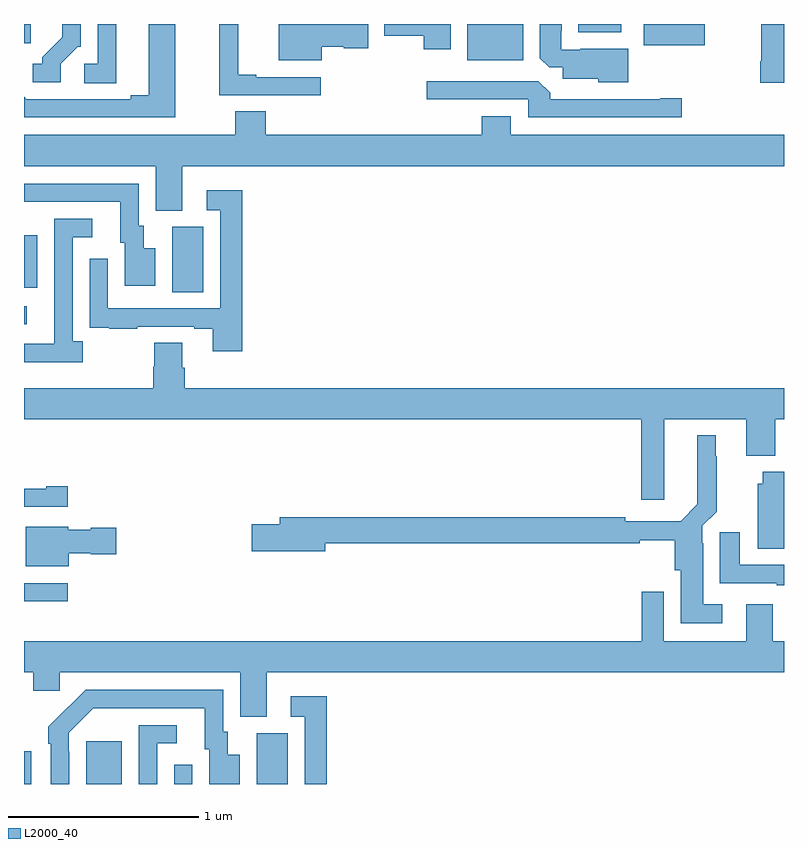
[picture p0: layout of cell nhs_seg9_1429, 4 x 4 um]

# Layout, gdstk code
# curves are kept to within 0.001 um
import gdstk
lib = gdstk.Library(unit=1e-6, precision=1e-09)
def R(c, l, rs):  # rectangles x0, y0, x1, y1
    for r in rs: c.add(gdstk.rectangle(r[:2], r[2:], *l))
def P(c, l, *ps):  # polygons
    for p in ps: c.add(gdstk.Polygon(p, *l))
L2000_40 = (2000, 40)

nhs_seg9_1429 = lib.new_cell('nhs_seg9_1429')
R(nhs_seg9_1429, L2000_40, [(191,1194.5,191.037,1194.673), (191.327,1194.5,191.515,1194.724), (191.79,1194.5,191.886,1194.601), (192.224,1194.5,192.388,1194.768), (191,1195.461,191.23,1195.557), (191,1196.919,191.014,1197.015), (191.78,1197.088,191.944,1197.432), (191,1197.113,191.071,1197.388), (193.334,1198.31,193.627,1198.5), (194.262,1198.388,194.582,1198.5), (191,1198.4,191.035,1198.5), (193.916,1198.457,194.143,1198.5)])
P(nhs_seg9_1429, L2000_40, [(191.485,1198.5),(191.388,1198.5),(191.388,1198.29),(191.316,1198.29),(191.316,1198.189),(191.485,1198.189)],
  [(192.562,1198.221),(192.223,1198.221),(192.223,1198.234),(192.128,1198.234),(192.128,1198.5),(192.028,1198.5),(192.028,1198.125),(192.562,1198.125)],
  [(191.797,1198.5),(191.657,1198.5),(191.657,1198.124),(191.561,1198.124),(191.561,1198.104),(191.013,1198.104),(191,1198.117),(191,1198.008),(191.797,1198.008)],
  [(191.193,1198.29),(191.283,1198.38),(191.298,1198.38),(191.298,1198.5),(191.201,1198.5),(191.201,1198.43),(191.096,1198.325),(191.096,1198.29),(191.046,1198.29),(191.046,1198.194),(191.193,1198.194)],
  [(195,1198.5),(194.881,1198.5),(194.881,1198.303),(194.876,1198.303),(194.876,1198.191),(195,1198.191)],
  [(193.246,1198.5),(192.896,1198.5),(192.896,1198.439),(193.105,1198.439),(193.105,1198.368),(193.246,1198.368)],
  [(192.568,1198.379),(192.684,1198.379),(192.684,1198.372),(192.811,1198.372),(192.811,1198.5),(192.341,1198.5),(192.341,1198.31),(192.568,1198.31)],
  [(194.179,1198.369),(193.927,1198.369),(193.927,1198.365),(193.827,1198.365),(193.827,1198.465),(193.831,1198.465),(193.831,1198.5),(193.715,1198.5),(193.715,1198.321),(193.764,1198.272),(193.835,1198.272),(193.835,1198.211),(194.022,1198.211),(194.022,1198.193),(194.179,1198.193)],
  [(194.461,1198.109),(194.348,1198.109),(194.348,1198.104),(193.769,1198.104),(193.769,1198.138),(193.707,1198.2),(193.119,1198.2),(193.119,1198.104),(193.653,1198.104),(193.653,1198.008),(194.461,1198.008)],
  [(191.833,1197.752),(195,1197.752),(195,1197.916),(193.561,1197.916),(193.561,1198.015),(193.409,1198.015),(193.409,1197.916),(192.272,1197.916),(192.272,1198.04),(192.112,1198.04),(192.112,1197.916),(191,1197.916),(191,1197.752),(191.693,1197.752),(191.693,1197.517),(191.833,1197.517)],
  [(191.692,1197.319),(191.629,1197.319),(191.629,1197.438),(191.604,1197.438),(191.604,1197.66),(191,1197.66),(191,1197.564),(191.507,1197.564),(191.507,1197.348),(191.531,1197.348),(191.531,1197.123),(191.692,1197.123)],
  [(192.149,1197.625),(191.961,1197.625),(191.961,1197.519),(192.033,1197.519),(192.033,1197.003),(191.442,1197.003),(191.442,1197.265),(191.346,1197.265),(191.346,1197.01),(191.347,1197.01),(191.347,1196.901),(191.449,1196.901),(191.449,1196.895),(191.597,1196.895),(191.597,1196.907),(191.897,1196.907),(191.897,1196.895),(191.993,1196.895),(191.993,1196.778),(192.149,1196.778)],
  [(191.308,1196.83),(191.256,1196.83),(191.256,1197.378),(191.359,1197.378),(191.359,1197.474),(191.16,1197.474),(191.16,1197.017),(191.159,1197.017),(191.159,1196.817),(191,1196.817),(191,1196.72),(191.308,1196.72)],
  [(194.371,1196.42),(194.801,1196.42),(194.801,1196.228),(194.954,1196.228),(194.954,1196.42),(195,1196.42),(195,1196.584),(191.846,1196.584),(191.846,1196.69),(191.833,1196.69),(191.833,1196.822),(191.686,1196.822),(191.686,1196.697),(191.681,1196.697),(191.681,1196.584),(191,1196.584),(191,1196.42),(194.249,1196.42),(194.249,1195.995),(194.371,1195.995)],
  [(194.674,1195.447),(194.575,1195.447),(194.575,1195.766),(194.571,1195.766),(194.571,1195.86),(194.645,1195.934),(194.645,1196.225),(194.641,1196.225),(194.641,1196.335),(194.543,1196.335),(194.544,1195.972),(194.456,1195.884),(194.165,1195.884),(194.165,1195.904),(192.347,1195.904),(192.347,1195.868),(192.198,1195.868),(192.198,1195.726),(192.586,1195.726),(192.586,1195.768),(194.242,1195.768),(194.242,1195.783),(194.426,1195.783),(194.426,1195.626),(194.456,1195.626),(194.456,1195.346),(194.674,1195.346)],
  [(195,1196.143),(194.888,1196.143),(194.888,1196.079),(194.861,1196.079),(194.861,1195.738),(195,1195.738)],
  [(191.23,1196.068),(191.117,1196.068),(191.117,1196.055),(191,1196.055),(191,1195.959),(191.23,1195.959)],
  [(191.236,1195.715),(191.352,1195.715),(191.352,1195.708),(191.485,1195.708),(191.485,1195.85),(191.352,1195.85),(191.352,1195.837),(191.232,1195.837),(191.232,1195.855),(191.009,1195.855),(191.009,1195.646),(191.236,1195.646)],
  [(195,1195.653),(194.767,1195.653),(194.767,1195.825),(194.663,1195.825),(194.663,1195.557),(194.963,1195.557),(194.963,1195.545),(195,1195.545)],
  [(192.277,1195.088),(195,1195.088),(195,1195.252),(194.941,1195.252),(194.941,1195.447),(194.801,1195.447),(194.801,1195.252),(194.367,1195.252),(194.367,1195.513),(194.251,1195.513),(194.251,1195.252),(191,1195.252),(191,1195.088),(191.048,1195.088),(191.048,1194.99),(191.187,1194.99),(191.187,1195.088),(192.137,1195.088),(192.137,1194.853),(192.277,1194.853)],
  [(191.238,1194.671),(191.235,1194.671),(191.235,1194.771),(191.364,1194.9),(191.951,1194.9),(191.951,1194.684),(191.975,1194.684),(191.975,1194.5),(192.136,1194.5),(192.136,1194.655),(192.073,1194.655),(192.073,1194.774),(192.048,1194.774),(192.048,1194.996),(191.324,1194.996),(191.127,1194.801),(191.127,1194.713),(191.142,1194.713),(191.142,1194.5),(191.238,1194.5)],
  [(192.593,1194.961),(192.405,1194.961),(192.405,1194.855),(192.477,1194.855),(192.477,1194.5),(192.593,1194.5)],
  [(191.7,1194.714),(191.803,1194.714),(191.803,1194.81),(191.604,1194.81),(191.604,1194.5),(191.7,1194.5)])

lib.write_gds('nhs_seg9_1429.gds')
